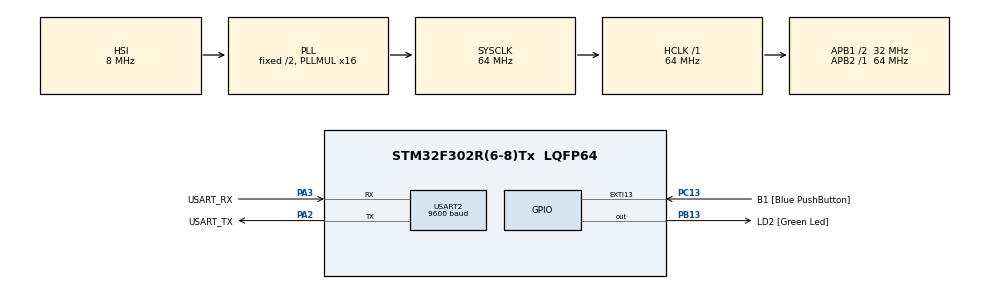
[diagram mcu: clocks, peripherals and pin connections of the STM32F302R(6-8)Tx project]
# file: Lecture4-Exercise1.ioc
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Mcu.Family=STM32F3
Mcu.Name=STM32F302R(6-8)Tx
Mcu.Package=LQFP64
NVIC.PriorityGroup=NVIC_PRIORITYGROUP_0
NVIC.USART2_IRQn=true\:0\:0\:false\:false\:true\:true\:true\:true
PA13.GPIO_Label=TMS
PA13.Mode=Serial_Wire
PA13.Signal=SYS_JTMS-SWDIO
PA14.GPIO_Label=TCK
PA14.Mode=Serial_Wire
PA14.Signal=SYS_JTCK-SWCLK
PA2.GPIO_Label=USART_TX
PA2.GPIO_Mode=GPIO_MODE_AF_PP
PA2.GPIO_PuPd=GPIO_NOPULL
PA2.GPIO_Speed=GPIO_SPEED_FREQ_LOW
PA2.Mode=Asynchronous
PA2.Signal=USART2_TX
PA3.GPIO_Label=USART_RX
PA3.GPIO_Mode=GPIO_MODE_AF_PP
PA3.GPIO_PuPd=GPIO_NOPULL
PA3.GPIO_Speed=GPIO_SPEED_FREQ_LOW
PA3.Mode=Asynchronous
PA3.Signal=USART2_RX
PB13.GPIO_Label=LD2 [Green Led]
PB13.Signal=GPIO_Output
PB3.GPIO_Label=SWO
PB3.Mode=Trace_Asynchronous_SW
PB3.Signal=SYS_JTDO-TRACESWO
PC13.GPIO_Label=B1 [Blue PushButton]
PC13.GPIO_ModeDefaultEXTI=GPIO_MODE_IT_FALLING
PC13.Signal=GPXTI13
PC14\ -\ OSC32_IN.Mode=LSE-External-Oscillator
PC14\ -\ OSC32_IN.Signal=RCC_OSC32_IN
PC15\ -\ OSC32_OUT.Mode=LSE-External-Oscillator
PC15\ -\ OSC32_OUT.Signal=RCC_OSC32_OUT
PF0-OSC_IN.Mode=HSE-External-Clock-Source
PF0-OSC_IN.Signal=RCC_OSC_IN
PF1-OSC_OUT.Signal=RCC_OSC_OUT
ProjectManager.HeapSize=0x200
ProjectManager.StackSize=0x400
ProjectManager.TargetToolchain=STM32CubeIDE
RCC.AHBFreq_Value=64000000
RCC.APB1CLKDivider=RCC_HCLK_DIV2
RCC.APB1Freq_Value=32000000
RCC.APB1TimFreq_Value=64000000
RCC.APB2Freq_Value=64000000
RCC.APB2TimFreq_Value=64000000
RCC.CortexFreq_Value=64000000
RCC.HCLKFreq_Value=64000000
RCC.HSE_VALUE=8000000
RCC.HSI_VALUE=8000000
RCC.PLLM=8
RCC.PLLMUL=RCC_PLL_MUL16
RCC.PLLN=336
RCC.PLLP=RCC_PLLP_DIV4
RCC.PLLQ=7
RCC.RCC_PLLsource_Clock_Source_FROM_HSE=RCC_HSE_PREDIV_DIV2
RCC.SYSCLKFreq_VALUE=64000000
RCC.SYSCLKSourceVirtual=RCC_SYSCLKSOURCE_PLLCLK
RCC.USBFreq_Value=64000000
USART2.BaudRate=9600
USART2.VirtualMode-Asynchronous=VM_ASYNC
board=NUCLEO-F302R8

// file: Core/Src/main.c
/* USER CODE BEGIN Header */
/**
  ******************************************************************************
  * @file           : main.c
  * @brief          : Main program body
  ******************************************************************************
  * @attention
  *
  * Copyright (c) 2026 STMicroelectronics.
  * All rights reserved.
  *
  * This software is licensed under terms that can be found in the LICENSE file
  * in the root directory of this software component.
  * If no LICENSE file comes with this software, it is provided AS-IS.
  *
  ******************************************************************************
  */
/* USER CODE END Header */
#include "main.h"
#include "usart.h"
#include "gpio.h"

/* USER CODE BEGIN PV */
char Rx_indx, Rx_data[2], Rx_Buffer[100], Transfer_cplt;
/* USER CODE END PV */

void SystemClock_Config(void);
/* USER CODE BEGIN PFP */
void HAL_UART_RxCpltCallback(UART_HandleTypeDef *huart);
/* USER CODE END PFP */

int main(void)
{

  /* MCU Configuration--------------------------------------------------------*/

  /* Reset of all peripherals, Initializes the Flash interface and the Systick. */
  HAL_Init();

  /* Configure the system clock */
  SystemClock_Config();

  /* Initialize all configured peripherals */
  MX_GPIO_Init();
  MX_USART2_UART_Init();
  /* USER CODE BEGIN 2 */
  // UART RX Interrupt must be started here in order to tell the
  // controller to look for incoming data. Moreover 1 bit of data
  // so we can slowly leak the incoming data.
  HAL_UART_Receive_IT(&huart2, (uint8_t*) Rx_data, 1);
  GPIO_PinState rx = GPIO_PIN_RESET;
  GPIO_PinState tx = GPIO_PIN_RESET;
  /* USER CODE END 2 */

  /* Infinite loop */
  while (1)
  {

    /* USER CODE BEGIN 3 */
	rx = HAL_GPIO_ReadPin(USART_RX_GPIO_Port, USART_RX_Pin);
	tx = HAL_GPIO_ReadPin(USART_TX_GPIO_Port, USART_TX_Pin);
	HAL_GPIO_WritePin(UART_TX_MONITOR_GPIO_Port, UART_TX_MONITOR_Pin, tx);
	HAL_GPIO_WritePin(UART_RX_MONITOR_GPIO_Port, UART_RX_MONITOR_Pin, rx);
  }
  /* USER CODE END 3 */
}

void SystemClock_Config(void)
{
  RCC_OscInitTypeDef RCC_OscInitStruct = {0};
  RCC_ClkInitTypeDef RCC_ClkInitStruct = {0};

  /** Initializes the RCC Oscillators according to the specified parameters
  * in the RCC_OscInitTypeDef structure.
  */
  RCC_OscInitStruct.OscillatorType = RCC_OSCILLATORTYPE_HSI;
  RCC_OscInitStruct.HSIState = RCC_HSI_ON;
  RCC_OscInitStruct.HSICalibrationValue = RCC_HSICALIBRATION_DEFAULT;
  RCC_OscInitStruct.PLL.PLLState = RCC_PLL_ON;
  RCC_OscInitStruct.PLL.PLLSource = RCC_PLLSOURCE_HSI;
  RCC_OscInitStruct.PLL.PLLMUL = RCC_PLL_MUL16;
  if (HAL_RCC_OscConfig(&RCC_OscInitStruct) != HAL_OK)
  {
    Error_Handler();
  }

  /** Initializes the CPU, AHB and APB buses clocks
  */
  RCC_ClkInitStruct.ClockType = RCC_CLOCKTYPE_HCLK|RCC_CLOCKTYPE_SYSCLK
                              |RCC_CLOCKTYPE_PCLK1|RCC_CLOCKTYPE_PCLK2;
  RCC_ClkInitStruct.SYSCLKSource = RCC_SYSCLKSOURCE_PLLCLK;
  RCC_ClkInitStruct.AHBCLKDivider = RCC_SYSCLK_DIV1;
  RCC_ClkInitStruct.APB1CLKDivider = RCC_HCLK_DIV2;
  RCC_ClkInitStruct.APB2CLKDivider = RCC_HCLK_DIV1;

  if (HAL_RCC_ClockConfig(&RCC_ClkInitStruct, FLASH_LATENCY_2) != HAL_OK)
  {
    Error_Handler();
  }
}

/* USER CODE BEGIN 4 */
void HAL_UART_RxCpltCallback(UART_HandleTypeDef *huart)
{
	uint8_t i;
	/* I haven't being doing this in the past exercises
	 * but I guess it would make sense in a broader project
	 * therefore, I will start including this safe guard.
	 * */
	if (huart->Instance == USART2)
	{
		// Uses the Rx_indx as check for reset the Rx buffer.
		// Later when it receives carriage return it will set it to 0
		// to process the message
		if (Rx_indx == 0)
		{
			for (i = 0; i < 100; i++)
			{
				Rx_Buffer[i] = 0;
			}
			HAL_GPIO_WritePin(LD2_GPIO_Port, LD2_Pin, GPIO_PIN_RESET);
		}
		if (Rx_data[0] != 13)
		{
			Rx_Buffer[(int) Rx_indx++] = Rx_data[0];
		}
		else
		{
			Rx_indx = 0;
			Transfer_cplt = 1;
			HAL_UART_Transmit(&huart2, (uint8_t *) "\n\r", 2, 100);
			if (!strcmp(Rx_Buffer,"LD2 on"))
			{
				HAL_GPIO_WritePin(LD2_GPIO_Port, LD2_Pin, GPIO_PIN_SET);
			}
		}
		HAL_UART_Receive_IT(&huart2, (uint8_t *) Rx_data, 1);
		HAL_UART_Transmit(&huart2, (uint8_t *) Rx_data, strlen(Rx_data), 100);
	}
}
/* USER CODE END 4 */

void Error_Handler(void)
{
  __disable_irq();
  while (1)
  {
  }
}
